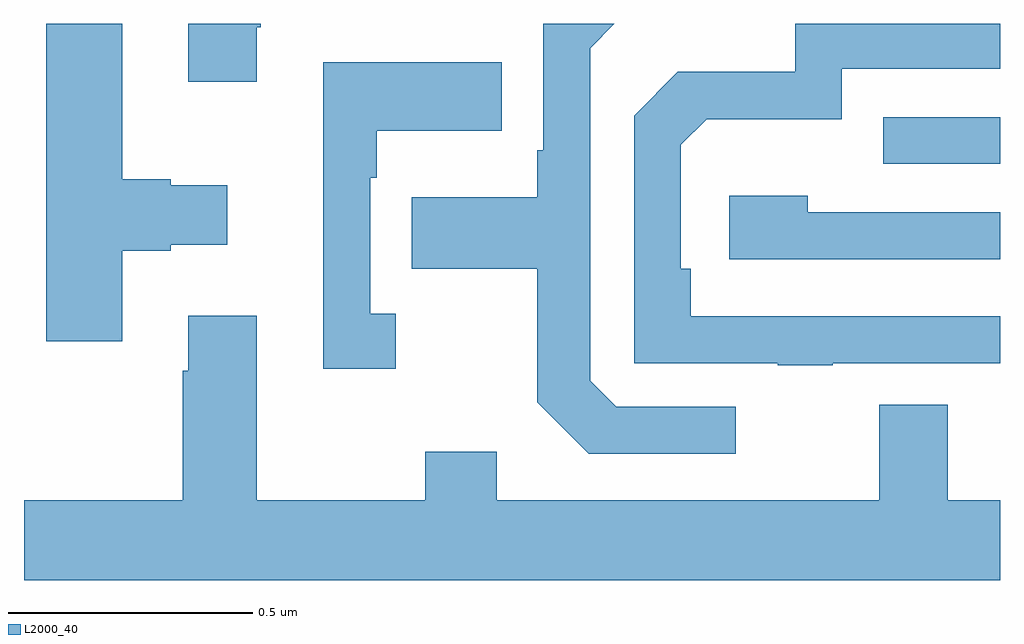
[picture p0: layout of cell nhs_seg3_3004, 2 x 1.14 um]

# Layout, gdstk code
import gdstk
lib = gdstk.Library(unit=1e-6, precision=1e-09)
def R(c, l, rs):  # rectangles x0, y0, x1, y1
    for r in rs: c.add(gdstk.rectangle(r[:2], r[2:], *l))
def P(c, l, *ps):  # polygons
    for p in ps: c.add(gdstk.Polygon(p, *l))
L2000_40 = (2000, 40)

nhs_seg3_3004 = lib.new_cell('nhs_seg3_3004')
R(nhs_seg3_3004, L2000_40, [(149.761,691.113,150,691.209)])
P(nhs_seg3_3004, L2000_40, [(148.477,691.393),(148.485,691.393),(148.485,691.4),(148.337,691.4),(148.337,691.281),(148.477,691.281)],
  [(149.657,690.705),(150,690.705),(150,690.801),(149.366,690.801),(149.366,690.898),(149.346,690.898),(149.346,691.152),(149.399,691.205),(149.676,691.205),(149.676,691.308),(150,691.308),(150,691.4),(149.58,691.4),(149.58,691.302),(149.34,691.302),(149.25,691.212),(149.25,690.705),(149.545,690.705),(149.545,690.7),(149.657,690.7)],
  [(149.458,690.615),(149.214,690.615),(149.16,690.669),(149.16,691.35),(149.21,691.4),(149.064,691.4),(149.064,691.141),(149.052,691.141),(149.052,691.045),(148.795,691.045),(148.795,690.898),(149.052,690.898),(149.052,690.625),(149.157,690.519),(149.458,690.519)],
  [(148.201,690.935),(148.301,690.935),(148.301,690.947),(148.417,690.947),(148.417,691.069),(148.301,691.069),(148.301,691.082),(148.201,691.082),(148.201,691.4),(148.046,691.4),(148.046,690.75),(148.201,690.75)],
  [(148.762,690.806),(148.71,690.806),(148.71,691.085),(148.723,691.085),(148.723,691.181),(148.979,691.181),(148.979,691.321),(148.613,691.321),(148.613,690.693),(148.762,690.693)],
  [(150,691.014),(149.606,691.014),(149.606,691.048),(149.445,691.048),(149.445,690.918),(150,690.918)],
  [(150,690.424),(149.893,690.424),(149.893,690.619),(149.753,690.619),(149.753,690.424),(148.969,690.424),(148.969,690.523),(148.822,690.523),(148.822,690.424),(148.477,690.424),(148.477,690.802),(148.337,690.802),(148.337,690.689),(148.325,690.689),(148.325,690.424),(148,690.424),(148,690.26),(150,690.26)])

lib.write_gds('nhs_seg3_3004.gds')
